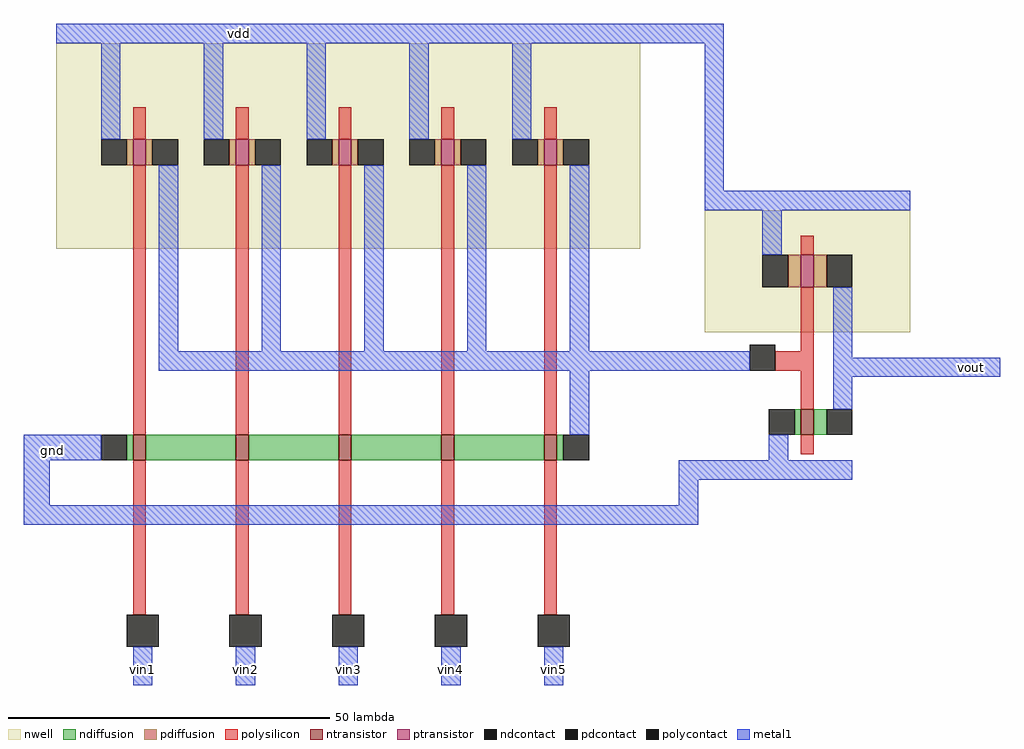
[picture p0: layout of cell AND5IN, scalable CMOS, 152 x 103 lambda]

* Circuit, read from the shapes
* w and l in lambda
.subckt AND5IN gnd vdd vin1 vin2 vin3 vin4 vin5 vout
M1 n1 vin1 gnd VSUBS nfet w=4 l=2
M2 n2 vin2 n1 VSUBS nfet w=4 l=2
M3 n3 vin3 n2 VSUBS nfet w=4 l=2
M4 n4 vin4 n3 VSUBS nfet w=4 l=2
M5 NOT_0/in vin5 n4 VSUBS nfet w=4 l=2
M6 vout NOT_0/in gnd VSUBS nfet w=4 l=2
M7 NOT_0/in vin1 vdd n5 pfet w=4 l=2
M8 NOT_0/in vin2 vdd n5 pfet w=4 l=2
M9 NOT_0/in vin3 vdd n5 pfet w=4 l=2
M10 NOT_0/in vin4 vdd n5 pfet w=4 l=2
M11 NOT_0/in vin5 vdd n5 pfet w=4 l=2
M12 vout NOT_0/in vdd n6 pfet w=5 l=2
.ends

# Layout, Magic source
magic
tech scmos
<< nwell >>
rect -26 1 65 33
<< ntransistor >>
rect -14 -32 -12 -28
rect 2 -32 4 -28
rect 18 -32 20 -28
rect 34 -32 36 -28
rect 50 -32 52 -28
<< ptransistor >>
rect -14 14 -12 18
rect 2 14 4 18
rect 18 14 20 18
rect 34 14 36 18
rect 50 14 52 18
<< ndiffusion >>
rect -15 -32 -14 -28
rect -12 -32 2 -28
rect 4 -32 18 -28
rect 20 -32 34 -28
rect 36 -32 50 -28
rect 52 -32 53 -28
<< pdiffusion >>
rect -15 14 -14 18
rect -12 14 -11 18
rect 1 14 2 18
rect 4 14 5 18
rect 17 14 18 18
rect 20 14 21 18
rect 33 14 34 18
rect 36 14 37 18
rect 49 14 50 18
rect 52 14 53 18
<< ndcontact >>
rect -19 -32 -15 -28
rect 53 -32 57 -28
<< pdcontact >>
rect -19 14 -15 18
rect -11 14 -7 18
rect -3 14 1 18
rect 5 14 9 18
rect 13 14 17 18
rect 21 14 25 18
rect 29 14 33 18
rect 37 14 41 18
rect 45 14 49 18
rect 53 14 57 18
<< polysilicon >>
rect -14 18 -12 23
rect 2 18 4 23
rect 18 18 20 23
rect 34 18 36 23
rect 50 18 52 23
rect -14 -28 -12 14
rect 2 -28 4 14
rect 18 -28 20 14
rect 34 -28 36 14
rect 50 -28 52 14
rect -14 -56 -12 -32
rect 2 -56 4 -32
rect 18 -56 20 -32
rect 34 -56 36 -32
rect 50 -56 52 -32
<< polycontact >>
rect -15 -61 -10 -56
rect 1 -61 6 -56
rect 17 -61 22 -56
rect 33 -61 38 -56
rect 49 -61 54 -56
<< metal1 >>
rect -26 33 78 36
rect -19 18 -16 33
rect -3 18 0 33
rect 13 18 16 33
rect 29 18 32 33
rect 45 18 48 33
rect -10 -15 -7 14
rect 6 -15 9 14
rect 22 -15 25 14
rect 38 -15 41 14
rect 54 -15 57 14
rect 75 7 78 33
rect -10 -18 79 -15
rect 54 -28 57 -18
rect 99 -19 121 -16
rect -31 -32 -19 -28
rect -31 -39 -27 -32
rect 71 -35 88 -32
rect 71 -39 74 -35
rect -31 -42 74 -39
rect -14 -67 -11 -61
rect 2 -67 5 -61
rect 18 -67 21 -61
rect 34 -67 37 -61
rect 50 -67 53 -61
use NOT  NOT_0
transform 1 0 82 0 1 -9
box -7 -26 25 19
<< labels >>
rlabel metal1 116 -18 117 -17 7 vout
rlabel metal1 -27 -31 -26 -30 3 gnd
rlabel metal1 2 34 3 35 5 vdd
rlabel metal1 -13 -65 -12 -64 1 vin1
rlabel metal1 3 -65 4 -64 1 vin2
rlabel metal1 19 -65 20 -64 1 vin3
rlabel metal1 35 -65 36 -64 1 vin4
rlabel metal1 51 -65 52 -64 1 vin5
<< end >>

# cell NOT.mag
magic
tech scmos
<< nwell >>
rect -7 -3 25 16
<< ntransistor >>
rect 8 -19 10 -15
<< ptransistor >>
rect 8 4 10 9
<< ndiffusion >>
rect 7 -19 8 -15
rect 10 -19 12 -15
<< pdiffusion >>
rect 6 4 8 9
rect 10 4 12 9
<< ndcontact >>
rect 3 -19 7 -15
rect 12 -19 16 -15
<< pdcontact >>
rect 2 4 6 9
rect 12 4 16 9
<< polysilicon >>
rect 8 9 10 12
rect 8 -6 10 4
rect 4 -9 10 -6
rect 8 -15 10 -9
rect 8 -22 10 -19
<< polycontact >>
rect 0 -9 4 -5
<< metal1 >>
rect -7 16 25 19
rect 2 9 5 16
rect -3 -9 0 -6
rect 13 -7 16 4
rect 13 -10 20 -7
rect 13 -15 16 -10
rect 3 -23 6 -19
rect 2 -26 16 -23
<< labels >>
rlabel metal1 6 17 9 18 5 vdd
rlabel metal1 -3 -8 -2 -7 3 in
rlabel metal1 18 -9 19 -8 1 out
rlabel metal1 9 -25 10 -24 1 gnd
<< end >>
